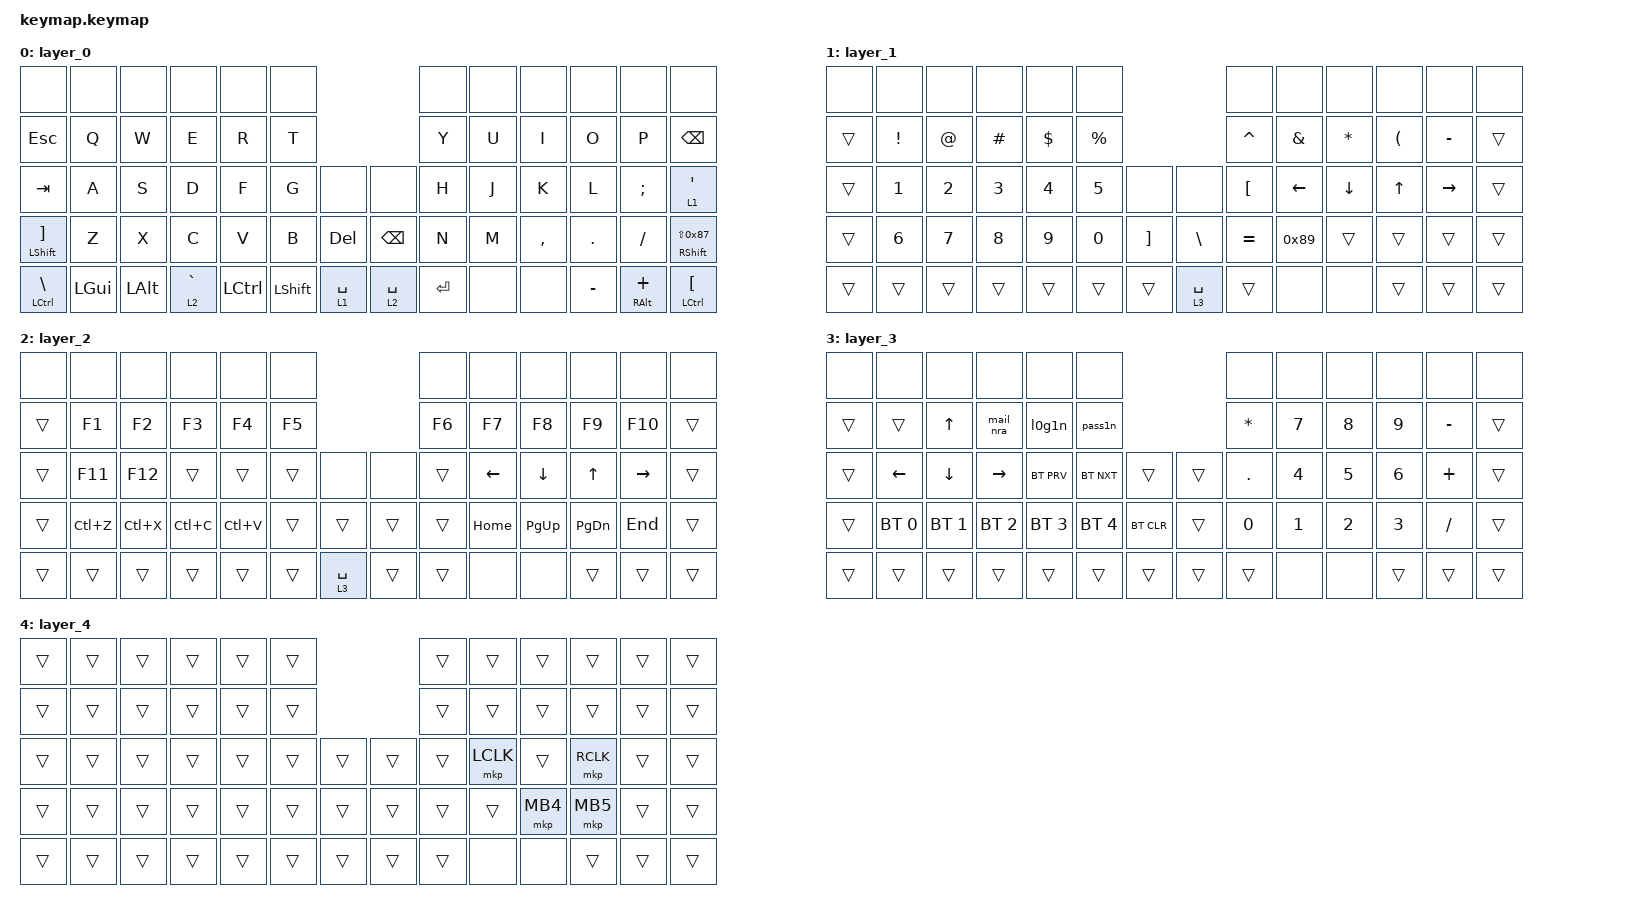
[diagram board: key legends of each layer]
#define ZMK_POINTING_DEFAULT_MOVE_VAL 600  // default: 600
#define ZMK_POINTING_DEFAULT_SCRL_VAL 10    // default: 10
#define JP_DQUOTE       AT                // "
#define JP_AMPERSAND    CARET             // &
#define JP_QUOTE        AMPERSAND         // '
#define JP_EQUAL        UNDER             // =
#define JP_CARET        EQUAL             // ^
#define JP_YEN          0x89              // ¥
#define JP_PLUS         COLON             // +
#define JP_TILDE        PLUS              // ~
#define JP_PIPE         LS(0x89)          // |
#define JP_AT           LEFT_BRACKET      // @
#define JP_COLON        SINGLE_QUOTE      // :
#define JP_ASTERISK     DOUBLE_QUOTES     // *
#define JP_BACKQUOTE    LEFT_BRACE        // `
#define JP_UNDERSCORE   LS(0x87)          // _
#define JP_LBRACKET     RIGHT_BRACKET     // [
#define JP_RBRACKET     BACKSLASH         // ]
#define JP_LPAREN       ASTERISK          // (
#define JP_RPAREN       LEFT_PARENTHESIS  // )
#define JP_LBRACE       RIGHT_BRACE       // {
#define JP_RBRACE       PIPE              // }
#define JP_KANA         LANGUAGE_1        // かな
#define JP_EISU         LANGUAGE_2        // 英数
#define JP_HANZEN       GRAVE             // 半角/全角

#include <behaviors.dtsi>
#include <dt-bindings/zmk/bt.h>
#include <dt-bindings/zmk/keys.h>
#include <dt-bindings/zmk/pointing.h>

&mkp_input_listener { input-processors = <&zip_temp_layer 4 250>; };

/ {
    combos {
        compatible = "zmk,combos";

        bt_clear {
            bindings = <&bt BT_CLR>;
            key-positions = <28 29>;
            layers = <2>;
        };
    };

    macros {
        l0g1n: l0g1n {
            compatible = "zmk,behavior-macro";
            #binding-cells = <0>;
            bindings = <&kp M &kp A &kp N &kp LS(O) &kp LS(F) &kp M &kp Y &kp W &kp O &kp R &kp D &kp LS(0x87)>;
            label = "L0G1N";
        };

        pass1n: pass1n {
            compatible = "zmk,behavior-macro";
            #binding-cells = <0>;
            bindings = <&none &kp LS(Q) &kp A &kp Z &kp X &kp C &kp V &kp B &kp N &kp M &kp LS(0x87)>;
            label = "PASS1N";
        };

        mail_nra: mail_nra {
            compatible = "zmk,behavior-macro";
            #binding-cells = <0>;
            bindings = <&none &kp S &kp H &kp I &kp I &kp N &kp A &kp LS(0x87) &kp K &kp E &kp N &kp I &kp C &kp H &kp I &kp R &kp O &kp LS(0x87) &kp N5 &kp N &kp E &kp LEFT_BRACKET &kp N &kp R &kp A &kp PERIOD &kp G &kp O &kp PERIOD &kp J &kp P>;
            label = "MAIL_NRA";
        };
    };

    keymap {
        compatible = "zmk,keymap";

        layer_0 {
            bindings = <
&none                    &none     &none         &none        &none             &none                                       &none      &none  &none      &none       &none               &none
&kp ESCAPE               &kp Q     &kp W         &kp E        &kp R             &kp T                                       &kp Y      &kp U  &kp I      &kp O       &kp P               &kp BSPC
&kp TAB                  &kp A     &kp S         &kp D        &kp F             &kp G           &none        &none          &kp H      &kp J  &kp K      &kp L       &kp SEMICOLON       &lt 1 SINGLE_QUOTE
&mt LSHFT RIGHT_BRACKET  &kp Z     &kp X         &kp C        &kp V             &kp B           &kp DEL      &kp BACKSPACE  &kp N      &kp M  &kp COMMA  &kp PERIOD  &kp SLASH           &mt RIGHT_SHIFT LS(0x87)
&mt LCTRL BACKSLASH      &kp LGUI  &kp LEFT_ALT  &lt 2 GRAVE  &kp LEFT_CONTROL  &kp LEFT_SHIFT  &lt 1 SPACE  &lt 2 SPACE    &kp ENTER  &none  &none      &kp MINUS   &mt RIGHT_ALT PLUS  &mt LCTRL LEFT_BRACKET
            >;
        };

        layer_1 {
            bindings = <
&none   &none            &none         &none         &none         &none                                          &none             &none           &none      &none                 &none      &none
&trans  &kp EXCLAMATION  &kp AT        &kp HASH      &kp DOLLAR    &kp PERCENT                                    &kp CARET         &kp AMPS        &kp ASTRK  &kp LEFT_PARENTHESIS  &kp MINUS  &trans
&trans  &kp NUMBER_1     &kp NUMBER_2  &kp NUMBER_3  &kp NUMBER_4  &kp N5       &none              &none          &kp LEFT_BRACKET  &kp LEFT_ARROW  &kp DOWN   &kp UP_ARROW          &kp RIGHT  &trans
&trans  &kp NUMBER_6     &kp N7        &kp N8        &kp N9        &kp N0       &kp RIGHT_BRACKET  &kp BACKSLASH  &kp EQUAL         &kp 0x89        &trans     &trans                &trans     &trans
&trans  &trans           &trans        &trans        &trans        &trans       &trans             &lt 3 SPACE    &trans            &none           &none      &trans                &trans     &trans
            >;
        };

        layer_2 {
            bindings = <
&none   &none      &none      &none      &none      &none                        &none   &none           &none      &none          &none      &none
&trans  &kp F1     &kp F2     &kp F3     &kp F4     &kp F5                       &kp F6  &kp F7          &kp F8     &kp F9         &kp F10    &trans
&trans  &kp F11    &kp F12    &trans     &trans     &trans  &none        &none   &trans  &kp LEFT_ARROW  &kp DOWN   &kp UP_ARROW   &kp RIGHT  &trans
&trans  &kp LC(Z)  &kp LC(X)  &kp LC(C)  &kp LC(V)  &trans  &trans       &trans  &trans  &kp HOME        &kp PG_UP  &kp PAGE_DOWN  &kp END    &trans
&trans  &trans     &trans     &trans     &trans     &trans  &lt 3 SPACE  &trans  &trans  &none           &none      &trans         &trans     &trans
            >;
        };

        layer_3 {
            bindings = <
&none   &none         &none         &none         &none         &none                             &none       &none         &none         &none         &none      &none
&trans  &trans        &kp UP_ARROW  &mail_nra     &l0g1n        &pass1n                           &kp ASTRK   &kp N7        &kp N8        &kp N9        &kp MINUS  &trans
&trans  &kp LEFT      &kp DOWN      &kp RIGHT     &bt BT_PRV    &bt BT_NXT    &trans      &trans  &kp PERIOD  &kp NUMBER_4  &kp N5        &kp NUMBER_6  &kp PLUS   &trans
&trans  &bt BT_SEL 0  &bt BT_SEL 1  &bt BT_SEL 2  &bt BT_SEL 3  &bt BT_SEL 4  &bt BT_CLR  &trans  &kp N0      &kp NUMBER_1  &kp NUMBER_2  &kp NUMBER_3  &kp SLASH  &trans
&trans  &trans        &trans        &trans        &trans        &trans        &trans      &trans  &trans      &none         &none         &trans        &trans     &trans
            >;
        };

        layer_4 {
            bindings = <
&trans  &trans  &trans  &trans  &trans  &trans                  &trans  &trans     &trans    &trans     &trans  &trans
&trans  &trans  &trans  &trans  &trans  &trans                  &trans  &trans     &trans    &trans     &trans  &trans
&trans  &trans  &trans  &trans  &trans  &trans  &trans  &trans  &trans  &mkp LCLK  &trans    &mkp RCLK  &trans  &trans
&trans  &trans  &trans  &trans  &trans  &trans  &trans  &trans  &trans  &trans     &mkp MB4  &mkp MB5   &trans  &trans
&trans  &trans  &trans  &trans  &trans  &trans  &trans  &trans  &trans  &none      &none     &trans     &trans  &trans
            >;
        };
    };
};
